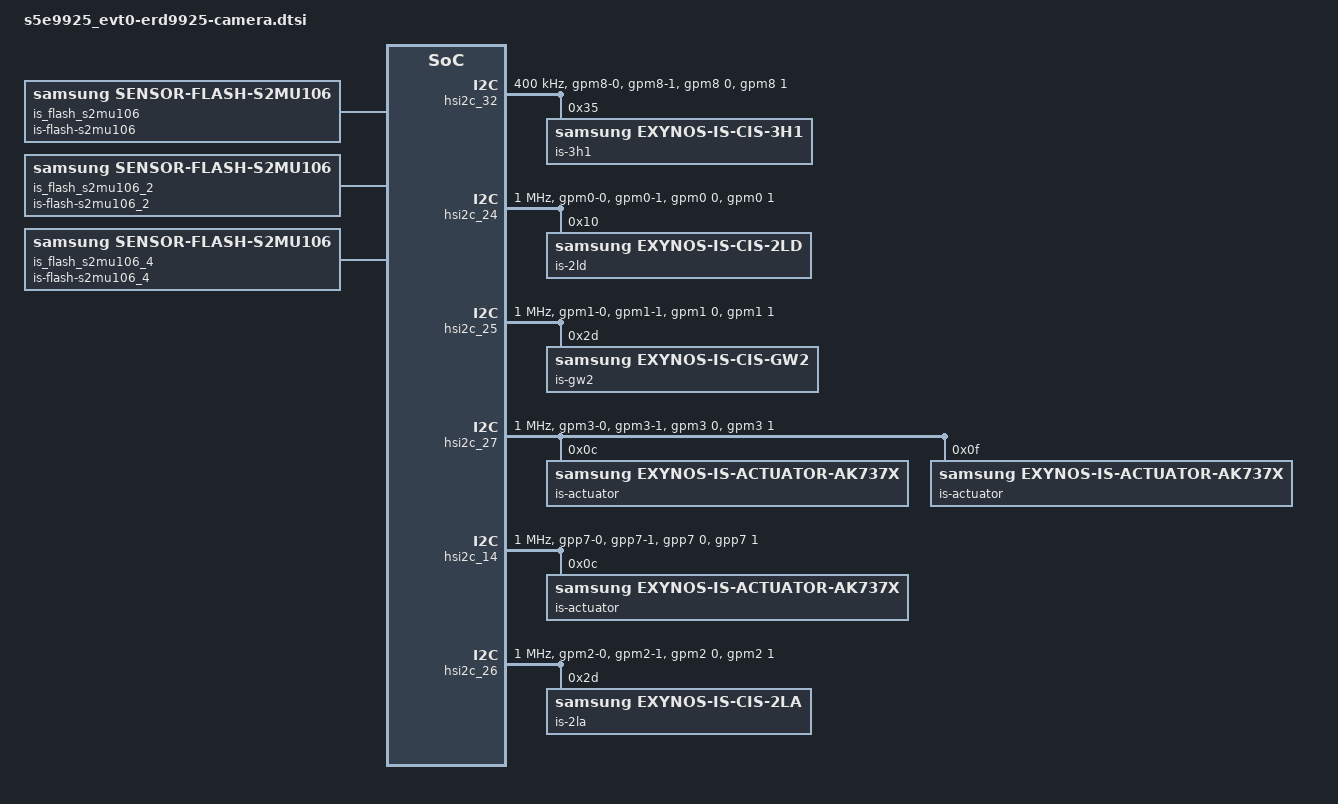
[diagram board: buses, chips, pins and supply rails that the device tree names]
/*
 * Samsung Exynos SoC series Pablo driver
 *
 * Copyright (c) 2020 Samsung Electronics Co., Ltd
 *
 * This program is free software; you can redistribute it and/or modify
 * it under the terms of the GNU General Public License version 2 as
 * published by the Free Software Foundation.
 */

#include <dt-bindings/camera/exynos_is_dt.h>

#include "module_evt0_2ld.dtsi" /* REAR CAMERA */
#include "module_3h1.dtsi" /* FRONT CAMERA */
#include "module_2la.dtsi" /* Ultra Wide CAMERA */
#include "module_evt0_gw2.dtsi" /* Tele CAMERA */

/ {
	fragment@camera {
		target-path = "/";
		__overlay__ {
			#address-cells = <2>;
			#size-cells = <1>;
			interrupt-parent = <&gic>;

			is_flash_s2mu106: is-flash-s2mu106@0 {
				compatible = "samsung,sensor-flash-s2mu106";
				sensor-module = <&is_sensor_2ld>;
				id = <0>;
				led_ch = <1 2>;
				status = "okay";
			};

			is_flash_s2mu106_2: is-flash-s2mu106_2@0 {
				compatible = "samsung,sensor-flash-s2mu106";
				sensor-module = <&is_sensor_gw2>;
				id = <2>;
				led_ch = <1 2>;
				status = "okay";
			};

			is_flash_s2mu106_4: is-flash-s2mu106_4@0 {
				compatible = "samsung,sensor-flash-s2mu106";
				sensor-module = <&is_sensor_2la>;
				id = <4>;
				led_ch = <1 2>;
				status = "okay";
			};

			/* REAR CAMERA */
			is_sensor0: is_sensor0@17030000 {
				#address-cells = <1>;
				#size-cells = <1>;
				reg = <0x0 0x17030000 0x1000>, /* MIPI-CSI0 */
					<0x0 0x173E0000 0x10000>; /* PHY: M0S4S4S4S4S4S2 */
				scenario = <SENSOR_SCENARIO_NORMAL>;	/* Normal, Vision, OIS etc */
				id = <0>;
				csi_ch = <0>;
				status = "okay";
				use_cphy = <1>;

				interrupts = <0 INTREQ__CSIS0 IRQ_TYPE_LEVEL_HIGH>;
				phys = <&mipi_phy_csis0_m0s4s4s4s4s4s4_s22 0>;
			};

			/* FRONT CAMERA */
			is_sensor1: is_sensor1@17040000 {
				#address-cells = <1>;
				#size-cells = <1>;
				reg = <0x0 0x17080000 0x1000>, /* MIPI-CSI5 */
					<0x0 0x173E0000 0x10000>; /* PHY: M0S4S4S4S4S4S2 */
				scenario = <SENSOR_SCENARIO_NORMAL>;    /* Normal, Vision, OIS etc */
				id = <1>;
				csi_ch = <5>;
				status = "okay";

				interrupts = <0 INTREQ__CSIS5 IRQ_TYPE_LEVEL_HIGH>;
				phys = <&mipi_phy_csis5_m0s4s4s4s4s4s4_s22 0>;
			};

			/* Tele CAMERA */
			is_sensor2: is_sensor2@17050000 {
				#address-cells = <1>;
				#size-cells = <1>;
				reg = <0x0 0x17040000 0x1000>, /* MIPI-CSI1 */
					<0x0 0x173E0000 0x10000>; /* PHY: M0S4S4S4S4S4S2 */
				scenario = <SENSOR_SCENARIO_NORMAL>;    /* Normal, Vision, OIS etc */
				id = <2>;
				csi_ch = <1>;
				status = "okay";
				use_cphy = <1>;

				interrupts = <0 INTREQ__CSIS1 IRQ_TYPE_LEVEL_HIGH>;
				phys = <&mipi_phy_csis1_m0s4s4s4s4s4s4_s22 0>;
			};

			is_sensor3: is_sensor3@17060000 {
				#address-cells = <1>;
				#size-cells = <1>;
				scenario = <SENSOR_SCENARIO_NORMAL>;    /* Normal, Vision, OIS etc */
				id = <3>;
				csi_ch = <4>;
				status = "disabled";
			};

			/* ULTRA WIDE CAMERA */
			is_sensor4: is_sensor4@17070000 {
				#address-cells = <1>;
				#size-cells = <1>;
				reg = <0x0 0x17050000 0x1000>, /* MIPI-CSI2 */
					<0x0 0x173E0000 0x10000>; /* PHY: M0S4S4S4S4S4S2 */
				scenario = <SENSOR_SCENARIO_NORMAL>;    /* Normal, Vision, OIS etc */
				id = <4>;
				csi_ch = <2>;
				status = "okay";
				use_cphy = <1>;

				interrupts = <0 INTREQ__CSIS2 IRQ_TYPE_LEVEL_HIGH>;
				phys = <&mipi_phy_csis2_m0s4s4s4s4s4s4_s22 0>;
			};

			is_sensor5: is_sensor5@17080000 {
				#address-cells = <1>;
				#size-cells = <1>;
				scenario = <SENSOR_SCENARIO_NORMAL>;    /* Normal, Vision, OIS etc */
				id = <1>;
				csi_ch = <1>;
				status = "disabled";
			};
		}; /* end of __overlay__ */
	}; /* end of fragment */
}; /* end of root */

/***** reference symbol node *****/
&pinctrl_1 {
	/* REAR TELE */
	hsi2c25_bus_in: hsi2c25-bus-in {
		samsung,pins = "gpm1-0", "gpm1-1";
		samsung,pin-function = <0>;
		samsung,pin-pud = <0>;
		samsung,pin-drv = <0>;
	};

	/* REAR WIDE/TELE AF */
	hsi2c27_bus_in: hsi2c27-bus-in {
		samsung,pins = "gpm3-0", "gpm3-1";
		samsung,pin-function = <0>;
		samsung,pin-pud = <0>;
		samsung,pin-drv = <0>;
	};

	/* REAR WIDE */
	hsi2c24_bus_in: hsi2c24-bus-in {
		samsung,pins = "gpm0-0", "gpm0-1";
		samsung,pin-function = <0>;
		samsung,pin-pud = <0>;
		samsung,pin-drv = <0>;
	};

	/* U WIDE */
	hsi2c26_bus_in: hsi2c26-bus-in {
		samsung,pins = "gpm2-0", "gpm2-1";
		samsung,pin-function = <0>;
		samsung,pin-pud = <0>;
		samsung,pin-drv = <0>;
	};

	/* Front */
	hsi2c32_bus_in: hsi2c32-bus-in {
		samsung,pins = "gpm8-0", "gpm8-1";
		samsung,pin-function = <0>;
		samsung,pin-pud = <0>;
		samsung,pin-drv = <0>;
	};
};

&pinctrl_5 {
	/* FRONT AF*/
	hsi2c14_bus_in: hsi2c14-bus-in {
		samsung,pins = "gpp7-0", "gpp7-1";
		samsung,pin-function = <0>;
		samsung,pin-pud = <0>;
		samsung,pin-drv = <0>;
	};
};

&hsi2c_32 {
	#address-cells = <1>;
	#size-cells = <0>;
	gpios = <&gpm8 0 0 &gpm8 1 0>;
	status = "okay";
	clock-frequency = <400000>;
	samsung,reset-before-trans;

	pinctrl-names = "default","on_i2c","off_i2c";
	pinctrl-0 = <&hsi2c32_bus_in>;
	pinctrl-1 = <&hsi2c32_bus>;
	pinctrl-2 = <&hsi2c32_bus_in>;

	is-3h1@35 {
		compatible = "samsung,exynos-is-cis-3h1";
		sensor-module = <&is_sensor_3h1>;
		reg = <0x35>; /* 1 bit right shift */
		id = <1>; /* matching is_sensor id */
		setfile = "default";
	};
};

&hsi2c_24 {
	#address-cells = <1>;
	#size-cells = <0>;
	gpios = <&gpm0 0 0 &gpm0 1 0>;
	status = "okay";
	clock-frequency = <1000000>;
	samsung,reset-before-trans;
	samsung,fast-plus-mode;

	pinctrl-names = "default","on_i2c","off_i2c";
	pinctrl-0 = <&hsi2c24_bus_in>;
	pinctrl-1 = <&hsi2c24_bus>;
	pinctrl-2 = <&hsi2c24_bus_in>;

	is-2ld@20 {
		compatible = "samsung,exynos-is-cis-2ld";
		sensor-module = <&is_sensor_2ld>;
		reg = <0x10>; /* 1 bit right shift */
		id = <0>; /* matching is_sensor id */
		setfile = "default";
		rev_reg = <0x0002 2 0xA301>;
	};
};

&hsi2c_25 {
	#address-cells = <1>;
	#size-cells = <0>;
	gpios = <&gpm1 0 0 &gpm1 1 0>;
	status = "okay";
	clock-frequency = <1000000>;
	samsung,reset-before-trans;
	samsung,fast-plus-mode;

	pinctrl-names = "default","on_i2c","off_i2c";
	pinctrl-0 = <&hsi2c25_bus_in>;
	pinctrl-1 = <&hsi2c25_bus>;
	pinctrl-2 = <&hsi2c25_bus_in>;

	is-gw2@2D {
		compatible = "samsung,exynos-is-cis-gw2";
		sensor-module = <&is_sensor_gw2>;
		reg = <0x2D>; /* 1 bit right shift */
		id = <2>; /* matching is_sensor id */
		setfile = "setA";
		rev_reg = <0x0002 2 0xA300>;
	};
};

&hsi2c_27 {
	#address-cells = <1>;
	#size-cells = <0>;
	gpios = <&gpm3 0 0 &gpm3 1 0>;
	status = "okay";
	clock-frequency = <1000000>;
	samsung,reset-before-trans;
	samsung,fast-plus-mode;

	pinctrl-names = "default","on_i2c","off_i2c";
	pinctrl-0 = <&hsi2c27_bus_in>;
	pinctrl-1 = <&hsi2c27_bus>;
	pinctrl-2 = <&hsi2c27_bus_in>;

	is-actuator@0C { /* wide AF */
		compatible = "samsung,exynos-is-actuator-ak737x";
		sensor-module = <&is_sensor_2ld>;
		reg = <0x0C>;
		id = <0>; /* matching is_sensor id */
		/* AK737x: addr 0xF3, data 0x0E */
		vendor_product_id = <0xF3 0x0E 0xF3 0x13 0xF3 0x00>;
		vendor_first_pos = <250>;
		vendor_first_delay = <2000>;
		vendor_soft_landing_seqid = <1>;
		vendor_soft_landing_list = <100 30 0 30>; /* 1st_pos delay 2nd_pos delay */
		vendor_use_sleep_mode;
		vendor_use_standby_mode; /* AK7377 with vendor_use_sleep_mode */
	};

	is-actuator@0F { /* tele AF */
		compatible = "samsung,exynos-is-actuator-ak737x";
		sensor-module = <&is_sensor_gw2>;
		reg = <0x0F>;
		id = <2>; /* matching sensor id */
		/* AK7377: addr 0xF3, data 0x0E */
		vendor_product_id = <0xF3 0x0E 0xF3 0x13 0xF3 0x00>;
		vendor_first_pos = <250>;
		vendor_first_delay = <2000>;
		vendor_soft_landing_seqid = <1>;
		vendor_soft_landing_list = <100 30 0 30>; /* 1st_pos delay 2nd_pos delay */
		vendor_use_sleep_mode;
		vendor_use_standby_mode; /* AK7377 with vendor_use_sleep_mode */
	};
};

&hsi2c_14 {
	#address-cells = <1>;
	#size-cells = <0>;
	gpios = <&gpp7 0 0 &gpp7 1 0>;
	status = "okay";
	clock-frequency = <1000000>;
	samsung,reset-before-trans;
	samsung,fast-plus-mode;

	pinctrl-names = "default","on_i2c","off_i2c";
	pinctrl-0 = <&hsi2c14_bus_in>;
	pinctrl-1 = <&hsi2c14_bus>;
	pinctrl-2 = <&hsi2c14_bus_in>;

	is-actuator@0C { /* front AF */
		compatible = "samsung,exynos-is-actuator-ak737x";
		sensor-module = <&is_sensor_3h1>;
		reg = <0x0C>;
		id = <1>; /* matching is_sensor id */
		/* AK737x: addr 0xF3, data 0x0E */
		vendor_product_id = <0xF3 0x0E 0xF3 0x13 0xF3 0x00>;
		vendor_first_pos = <120>;
		vendor_first_delay = <2000>;
		vendor_soft_landing_seqid = <1>;
		vendor_soft_landing_list = <100 30 0 30>; /* 1st_pos delay 2nd_pos delay */
		vendor_use_sleep_mode;
		vendor_use_standby_mode; /* AK7377 with vendor_use_sleep_mode */
	};
};

&hsi2c_26 {
	#address-cells = <1>;
	#size-cells = <0>;
	gpios = <&gpm2 0 0 &gpm2 1 0>;
	status = "okay";
	clock-frequency = <1000000>;
	samsung,reset-before-trans;
	samsung,fast-plus-mode;

	pinctrl-names = "default","on_i2c","off_i2c";
	pinctrl-0 = <&hsi2c26_bus_in>;
	pinctrl-1 = <&hsi2c26_bus>;
	pinctrl-2 = <&hsi2c26_bus_in>;

	is-2la@2D {
		compatible = "samsung,exynos-is-cis-2la";
		sensor-module = <&is_sensor_2la>;
		reg = <0x2D>; /* 1 bit right shift */
		id = <4>; /* matching is_sensor id */
		setfile = "setA";
		status = "okay";
		rev_reg = <0x0002 2 0xA202>;
	};
};

&exynos_is {
	vender {
		use_module_check;
		use_ois;
		check_sensor_vendor;
		ois_sensor_index = <0>;
		aperture_sensor_index = <0>;
		mcu_sensor_index = <0>;

		max_supported_camera = <9>;
		supported_cameraId = <0 1 2 20 21 23 50 52 80>;
		ois_gyro_list = <0x00 0x00 0x01 0x01 0x01>;
		/*
		* Wide(0)
		* Front(1)
		* U Wide(2)
		* Front 80(3) - not available for factory
		* Rear ToF(4) - not available for factory
		* Front Secure(5) - not available for factory
		* Dual Zoom(20)
		* Dual Portrait Tele(21) - Main Tele/Sub Wide
		* Dual Portrait Wide(23) - Main Wide/Sub U Wide
		* Tele 2x2(50)
		* Tele 17.9(52)
		* REAR ToF(80)
		*/

		/* sysfs camera id */
		max_camera_num = <9>;
		sensor_name { /* sensor_dev_id = "name" */
			0 = "2LD";
			1 = "3H1";
			2 = "GW2";
			4 = "2LA";
		};
		camera_info0 {			/* 0 : sysfs rear */
			internal_id = <0>;	/* 0 : wide */
			isp = <0>;		/* 0 : INT, 1 : EXT, 2 : SOC */
			cal_memory = <2>;	/* 0 : N, 1 : FROM, 2 : EEPROM, 3 : OTP */
			read_version = <0>;	/* 0 : SYSFS, 1 : CAMON */
			core_voltage = <0>;	/* 0 : N, 1 : Y */
			upgrade = <0>;		/* 0 : N, 1 : SYSFS , 2 : CAMON */
			fw_write = <0>;		/* 0 : N, 1 : OS, 2 : SD, 3 : ALL */
			fw_dump = <0>;		/* 0 : N, 1 : Y */
			companion = <0>;	/* 0 : N, 1 : Y */
			ois = <1>;		/* 0 : N, 1 : Y */
			valid = <1>;		/* 0 : INVALID, 1 : VALID */
		};
		camera_info1 {			/* 1 : sysfs front */
			internal_id = <1>;	/* 1 : front master */
			isp = <0>;		/* 0 : INT, 1 : EXT, 2 : SOC */
			cal_memory = <2>;	/* 0 : N, 1 : FROM, 2 : EEPROM, 3 : OTP */
			read_version = <0>;	/* 0 : SYSFS, 1 : CAMON */
			core_voltage = <0>;	/* 0 : N, 1 : Y */
			upgrade = <0>;		/* 0 : N, 1 : SYSFS, 2 : CAMON */
			fw_write = <0>;		/* 0 : N, 1 : OS, 2 : SD, 3 : ALL */
			fw_dump = <0>;		/* 0 : N, 1 : Y */
			companion = <0>;	/* 0 : N, 1 : Y */
			ois = <0>;		/* 0 : N, 1 : Y */
			valid = <1>;		/* 0 : INVALID, 1 : VALID */
		};
		camera_info2 {			/* 2 : sysfs rear2 */
			internal_id = <4>;	/* 4 : ultra wide */
			isp = <0>;		/* 0 : INT, 1 : EXT, 2 : SOC */
			cal_memory = <2>;	/* 0 : N, 1 : FROM, 2 : EEPROM, 3 : OTP */
			read_version = <0>;	/* 0 : SYSFS, 1 : CAMON */
			core_voltage = <0>;	/* 0 : N, 1 : Y */
			upgrade = <0>;		/* 0 : N, 1 : SYSFS, 2 : CAMON */
			fw_write = <0>;		/* 0 : N, 1 : OS, 2 : SD, 3 : ALL */
			fw_dump = <0>;		/* 0 : N, 1 : Y */
			companion = <0>;	/* 0 : N, 1 : Y */
			ois = <0>;		/* 0 : N, 1 : Y */
			valid = <1>;		/* 0 : INVALID, 1 : VALID */
		};
		camera_info3 {			/* 3 : sysfs front2 */
			internal_id = <3>;	/* 3 : front sub */
			isp = <0>;		/* 0 : INT, 1 : EXT, 2 : SOC */
			cal_memory = <2>;	/* 0 : N, 1 : FROM, 2 : EEPROM, 3 : OTP */
			read_version = <0>;	/* 0 : SYSFS, 1 : CAMON */
			core_voltage = <0>;	/* 0 : N, 1 : Y */
			upgrade = <0>;		/* 0 : N, 1 : SYSFS, 2 : CAMON */
			fw_write = <0>;		/* 0 : N, 1 : OS, 2 : SD, 3 : ALL */
			fw_dump = <0>;		/* 0 : N, 1 : Y */
			companion = <0>;	/* 0 : N, 1 : Y */
			ois = <0>;		/* 0 : N, 1 : Y */
			valid = <1>;		/* 0 : INVALID, 1 : VALID */
		};
		camera_info4 {			/* 4 : sysfs rear3 */
			internal_id = <2>;	/* 4 : tele */
			isp = <0>;		/* 0 : INT, 1 : EXT, 2 : SOC */
			cal_memory = <2>;	/* 0 : N, 1 : FROM, 2 : EEPROM, 3 : OTP */
			read_version = <0>;	/* 0 : SYSFS, 1 : CAMON */
			core_voltage = <0>;	/* 0 : N, 1 : Y */
			upgrade = <0>;		/* 0 : N, 1 : SYSFS, 2 : CAMON */
			fw_write = <0>;		/* 0 : N, 1 : OS, 2 : SD, 3 : ALL */
			fw_dump = <0>;		/* 0 : N, 1 : Y */
			companion = <0>;	/* 0 : N, 1 : Y */
			ois = <1>;		/* 0 : N, 1 : Y */
			valid = <1>;		/* 0 : INVALID, 1 : VALID   */
		};
		camera_info5 {			/* 5 : sysfs front3 */
			valid = <0>;		/* 0 : INVALID, 1 : VALID */
		};
		camera_info6 {			/* 6 : sysfs rear4 */
			valid = <0>;		/* 0 : INVALID, 1 : VALID */
		};
		camera_info7 {			/* 7 : sysfs front4 */
			valid = <0>;		/* 0 : INVALID, 1 : VALID */
		};
		camera_info8 {			/* 8 : sysfs rear tof */
			internal_id = <8>;	/* 3 : rear tof */
			isp = <0>;		/* 0 : INT, 1 : EXT, 2 : SOC */
			cal_memory = <2>;	/* 0 : N, 1 : FROM, 2 : EEPROM, 3 : OTP  */
			read_version = <0>;	/* 0 : SYSFS, 1 : CAMON */
			core_voltage = <0>;	/* 0 : N, 1 : Y */
			upgrade = <0>;		/* 0 : N, 1 : SYSFS, 2 : CAMON */
			fw_write = <0>;		/* 0 : N, 1 : OS, 2 : SD, 3 : ALL */
			fw_dump = <0>;		/* 0 : N, 1 : Y */
			companion = <0>;	/* 0 : N, 1 : Y */
			ois = <0>;		/* 0 : N, 1 : Y */
			valid = <1>;		/* 0 : INVALID, 1 : VALID */
		};
	};

	lic_offsets {
		/* 3AA = <setA lic offset0, setA lic offset1, set A trigger context */
		/*		setB lic offset0, setB lic offset1, set B trigger context> */
		/* 4672: 4640x4352 */
		/* 5824: 5804x4352 */
		3AA = <5461 10922 16383 0 5461 10922 16383 0>;
	};

	is_dvfs {
		#define CPU_CL0 "0-3"
		#define CPU_CL1 "4-6"
		#define CPU_CL2 "7"

		table0 {
			desc = "dvfs table v0.2";

			default_int_cam = <1>;
			default_cam = <1>;
			default_csis = <1>;
			default_isp = <1>;
			default_mif = <1>;
			default_int = <1>;
			default_cpu = CPU_CL0;

			rear_single_wide_photo_int_cam = <6>;
			rear_single_wide_photo_cam = <6>;
			rear_single_wide_photo_csis = <6>;
			rear_single_wide_photo_isp = <6>;
			rear_single_wide_photo_mif = <6>;
			rear_single_wide_photo_int = <5>;
			rear_single_wide_photo_cpu = CPU_CL0;

			rear_single_wide_photo_full_int_cam = <6>;
			rear_single_wide_photo_full_cam = <6>;
			rear_single_wide_photo_full_csis = <6>;
			rear_single_wide_photo_full_isp = <6>;
			rear_single_wide_photo_full_mif = <3>;
			rear_single_wide_photo_full_int = <5>;
			rear_single_wide_photo_full_cpu = CPU_CL0;

			rear_single_wide_video_fhd30_int_cam = <6>;
			rear_single_wide_video_fhd30_cam = <7>;
			rear_single_wide_video_fhd30_csis = <6>;
			rear_single_wide_video_fhd30_isp = <7>;
			rear_single_wide_video_fhd30_mif = <8>;
			rear_single_wide_video_fhd30_int = <5>;
			rear_single_wide_video_fhd30_cpu = CPU_CL0;

			rear_single_wide_videohdr_int_cam = <6>;
			rear_single_wide_videohdr_cam = <6>;
			rear_single_wide_videohdr_csis = <6>;
			rear_single_wide_videohdr_isp = <7>;
			rear_single_wide_videohdr_mif = <8>;
			rear_single_wide_videohdr_int = <5>;
			rear_single_wide_videohdr_cpu = CPU_CL0;

			rear_single_wide_video_fhd60_int_cam = <6>;
			rear_single_wide_video_fhd60_cam = <6>;
			rear_single_wide_video_fhd60_csis = <6>;
			rear_single_wide_video_fhd60_isp = <7>;
			rear_single_wide_video_fhd60_mif = <7>;
			rear_single_wide_video_fhd60_int = <5>;
			rear_single_wide_video_fhd60_cpu = CPU_CL1;

			rear_single_wide_video_fhd60_hf_int_cam = <6>;
			rear_single_wide_video_fhd60_hf_cam = <6>;
			rear_single_wide_video_fhd60_hf_csis = <6>;
			rear_single_wide_video_fhd60_hf_isp = <7>;
			rear_single_wide_video_fhd60_hf_mif = <7>;
			rear_single_wide_video_fhd60_hf_int = <5>;
			rear_single_wide_video_fhd60_hf_cpu = CPU_CL1;

			rear_single_wide_video_fhd60_supersteady_int_cam = <5>;
			rear_single_wide_video_fhd60_supersteady_cam = <5>;
			rear_single_wide_video_fhd60_supersteady_csis = <5>;
			rear_single_wide_video_fhd60_supersteady_isp = <6>;
			rear_single_wide_video_fhd60_supersteady_mif = <7>;
			rear_single_wide_video_fhd60_supersteady_int = <5>;
			rear_single_wide_video_fhd60_supersteady_cpu = CPU_CL1;

			rear_single_wide_video_fhd60_hf_supersteady_int_cam = <5>;
			rear_single_wide_video_fhd60_hf_supersteady_cam = <5>;
			rear_single_wide_video_fhd60_hf_supersteady_csis = <5>;
			rear_single_wide_video_fhd60_hf_supersteady_isp = <6>;
			rear_single_wide_video_fhd60_hf_supersteady_mif = <7>;
			rear_single_wide_video_fhd60_hf_supersteady_int = <5>;
			rear_single_wide_video_fhd60_hf_supersteady_cpu = CPU_CL1;

			rear_single_wide_video_uhd30_int_cam = <6>;
			rear_single_wide_video_uhd30_cam = <6>;
			rear_single_wide_video_uhd30_csis = <6>;
			rear_single_wide_video_uhd30_isp = <7>;
			rear_single_wide_video_uhd30_mif = <7>;
			rear_single_wide_video_uhd30_int = <4>;
			rear_single_wide_video_uhd30_cpu = CPU_CL0;

			rear_single_wide_video_uhd60_int_cam = <6>;
			rear_single_wide_video_uhd60_cam = <5>;
			rear_single_wide_video_uhd60_csis = <6>;
			rear_single_wide_video_uhd60_isp = <6>;
			rear_single_wide_video_uhd60_mif = <5>;
			rear_single_wide_video_uhd60_int = <3>;
			rear_single_wide_video_uhd60_cpu = CPU_CL1;

			rear_single_wide_video_uhd60_hf_int_cam = <6>;
			rear_single_wide_video_uhd60_hf_cam = <5>;
			rear_single_wide_video_uhd60_hf_csis = <6>;
			rear_single_wide_video_uhd60_hf_isp = <7>;
			rear_single_wide_video_uhd60_hf_mif = <6>;
			rear_single_wide_video_uhd60_hf_int = <3>;
			rear_single_wide_video_uhd60_hf_cpu = CPU_CL1;

			rear_single_wide_video_uhd120_int_cam = <6>;
			rear_single_wide_video_uhd120_cam = <4>;
			rear_single_wide_video_uhd120_csis = <6>;
			rear_single_wide_video_uhd120_isp = <4>;
			rear_single_wide_video_uhd120_mif = <3>;
			rear_single_wide_video_uhd120_int = <2>;
			rear_single_wide_video_uhd120_cpu = CPU_CL0;

			rear_single_wide_capture_int_cam = <3>;
			rear_single_wide_capture_cam = <3>;
			rear_single_wide_capture_csis = <6>;
			rear_single_wide_capture_isp = <3>;
			rear_single_wide_capture_mif = <1>;
			rear_single_wide_capture_int = <5>;
			rear_single_wide_capture_cpu = CPU_CL0;

			rear_single_wide_remosaic_photo_int_cam = <1>;
			rear_single_wide_remosaic_photo_cam = <1>;
			rear_single_wide_remosaic_photo_csis = <1>;
			rear_single_wide_remosaic_photo_isp = <1>;
			rear_single_wide_remosaic_photo_mif = <1>;
			rear_single_wide_remosaic_photo_int = <1>;
			rear_single_wide_remosaic_photo_cpu = CPU_CL0;

			rear_single_wide_remosaic_capture_int_cam = <1>;
			rear_single_wide_remosaic_capture_cam = <1>;
			rear_single_wide_remosaic_capture_csis = <1>;
			rear_single_wide_remosaic_capture_isp = <1>;
			rear_single_wide_remosaic_capture_mif = <1>;
			rear_single_wide_remosaic_capture_int = <1>;
			rear_single_wide_remosaic_capture_cpu = CPU_CL0;

			rear_single_wide_video_fhd120_int_cam = <8>;
			rear_single_wide_video_fhd120_cam = <5>;
			rear_single_wide_video_fhd120_csis = <6>;
			rear_single_wide_video_fhd120_isp = <7>;
			rear_single_wide_video_fhd120_mif = <5>;
			rear_single_wide_video_fhd120_int = <4>;
			rear_single_wide_video_fhd120_cpu = CPU_CL0;

			rear_single_wide_video_fhd240_int_cam = <8>;
			rear_single_wide_video_fhd240_cam = <5>;
			rear_single_wide_video_fhd240_csis = <6>;
			rear_single_wide_video_fhd240_isp = <5>;
			rear_single_wide_video_fhd240_mif = <4>;
			rear_single_wide_video_fhd240_int = <3>;
			rear_single_wide_video_fhd240_cpu = CPU_CL1;

			rear_single_wide_video_fhd480_int_cam = <8>;
			rear_single_wide_video_fhd480_cam = <5>;
			rear_single_wide_video_fhd480_csis = <6>;
			rear_single_wide_video_fhd480_isp = <5>;
			rear_single_wide_video_fhd480_mif = <3>;
			rear_single_wide_video_fhd480_int = <2>;
			rear_single_wide_video_fhd480_cpu = CPU_CL0;

			rear_single_wide_ssm_int_cam = <8>;
			rear_single_wide_ssm_cam = <5>;
			rear_single_wide_ssm_csis = <6>;
			rear_single_wide_ssm_isp = <5>;
			rear_single_wide_ssm_mif = <3>;
			rear_single_wide_ssm_int = <2>;
			rear_single_wide_ssm_hpg = <6>;
			rear_single_wide_ssm_cpu = CPU_CL0;

			rear_single_wide_video_8k24_int_cam = <6>;
			rear_single_wide_video_8k24_cam = <5>;
			rear_single_wide_video_8k24_csis = <6>;
			rear_single_wide_video_8k24_isp = <4>;
			rear_single_wide_video_8k24_mif = <6>;
			rear_single_wide_video_8k24_int = <3>;
			rear_single_wide_video_8k24_cpu = CPU_CL0;

			rear_single_wide_video_8k24_hf_int_cam = <6>;
			rear_single_wide_video_8k24_hf_cam = <5>;
			rear_single_wide_video_8k24_hf_csis = <6>;
			rear_single_wide_video_8k24_hf_isp = <5>;
			rear_single_wide_video_8k24_hf_mif = <7>;
			rear_single_wide_video_8k24_hf_int = <3>;
			rear_single_wide_video_8k24_hf_cpu = CPU_CL0;

			rear_single_wide_video_8k30_int_cam = <6>;
			rear_single_wide_video_8k30_cam = <5>;
			rear_single_wide_video_8k30_csis = <6>;
			rear_single_wide_video_8k30_isp = <2>;
			rear_single_wide_video_8k30_mif = <4>;
			rear_single_wide_video_8k30_int = <2>;
			rear_single_wide_video_8k30_cpu = CPU_CL0;

			rear_single_wide_video_8k30_hf_int_cam = <6>;
			rear_single_wide_video_8k30_hf_cam = <5>;
			rear_single_wide_video_8k30_hf_csis = <6>;
			rear_single_wide_video_8k30_hf_isp = <5>;
			rear_single_wide_video_8k30_hf_mif = <5>;
			rear_single_wide_video_8k30_hf_int = <2>;
			rear_single_wide_video_8k30_hf_cpu = CPU_CL0;

			rear_single_wide_vt_int_cam = <6>;
			rear_single_wide_vt_cam = <7>;
			rear_single_wide_vt_csis = <6>;
			rear_single_wide_vt_isp = <7>;
			rear_single_wide_vt_mif = <8>;
			rear_single_wide_vt_int = <5>;
			rear_single_wide_vt_cpu = CPU_CL0;

			rear_single_ultrawide_photo_int_cam = <6>;
			rear_single_ultrawide_photo_cam = <6>;
			rear_single_ultrawide_photo_csis = <6>;
			rear_single_ultrawide_photo_isp = <6>;
			rear_single_ultrawide_photo_mif = <6>;
			rear_single_ultrawide_photo_int = <5>;
			rear_single_ultrawide_photo_cpu = CPU_CL0;

			rear_single_ultrawide_photo_full_int_cam = <6>;
			rear_single_ultrawide_photo_full_cam = <6>;
			rear_single_ultrawide_photo_full_csis = <6>;
			rear_single_ultrawide_photo_full_isp = <6>;
			rear_single_ultrawide_photo_full_mif = <3>;
			rear_single_ultrawide_photo_full_int = <5>;
			rear_single_ultrawide_photo_full_cpu = CPU_CL0;

			rear_single_ultrawide_video_fhd30_int_cam = <6>;
			rear_single_ultrawide_video_fhd30_cam = <7>;
			rear_single_ultrawide_video_fhd30_csis = <6>;
			rear_single_ultrawide_video_fhd30_isp = <7>;
			rear_single_ultrawide_video_fhd30_mif = <8>;
			rear_single_ultrawide_video_fhd30_int = <5>;
			rear_single_ultrawide_video_fhd30_cpu = CPU_CL0;

			rear_single_ultrawide_video_fhd30_supersteady_int_cam = <6>;
			rear_single_ultrawide_video_fhd30_supersteady_cam = <7>;
			rear_single_ultrawide_video_fhd30_supersteady_csis = <6>;
			rear_single_ultrawide_video_fhd30_supersteady_isp = <7>;
			rear_single_ultrawide_video_fhd30_supersteady_mif = <8>;
			rear_single_ultrawide_video_fhd30_supersteady_int = <5>;
			rear_single_ultrawide_video_fhd30_supersteady_cpu = CPU_CL0;

			rear_single_ultrawide_video_fhd30_hf_supersteady_int_cam = <6>;
			rear_single_ultrawide_video_fhd30_hf_supersteady_cam = <7>;
			rear_single_ultrawide_video_fhd30_hf_supersteady_csis = <6>;
			rear_single_ultrawide_video_fhd30_hf_supersteady_isp = <7>;
			rear_single_ultrawide_video_fhd30_hf_supersteady_mif = <8>;
			rear_single_ultrawide_video_fhd30_hf_supersteady_int = <5>;
			rear_single_ultrawide_video_fhd30_hf_supersteady_cpu = CPU_CL0;

			rear_single_ultrawide_video_fhd60_int_cam = <6>;
			rear_single_ultrawide_video_fhd60_cam = <6>;
			rear_single_ultrawide_video_fhd60_csis = <6>;
			rear_single_ultrawide_video_fhd60_isp = <7>;
			rear_single_ultrawide_video_fhd60_mif = <7>;
			rear_single_ultrawide_video_fhd60_int = <5>;
			rear_single_ultrawide_video_fhd60_cpu = CPU_CL1;

			rear_single_ultrawide_video_fhd60_supersteady_int_cam = <5>;
			rear_single_ultrawide_video_fhd60_supersteady_cam = <5>;
			rear_single_ultrawide_video_fhd60_supersteady_csis = <5>;
			rear_single_ultrawide_video_fhd60_supersteady_isp = <6>;
			rear_single_ultrawide_video_fhd60_supersteady_mif = <7>;
			rear_single_ultrawide_video_fhd60_supersteady_int = <5>;
			rear_single_ultrawide_video_fhd60_supersteady_cpu = CPU_CL1;

			rear_single_ultrawide_video_fhd60_hf_supersteady_int_cam = <5>;
			rear_single_ultrawide_video_fhd60_hf_supersteady_cam = <5>;
			rear_single_ultrawide_video_fhd60_hf_supersteady_csis = <5>;
			rear_single_ultrawide_video_fhd60_hf_supersteady_isp = <6>;
			rear_single_ultrawide_video_fhd60_hf_supersteady_mif = <7>;
			rear_single_ultrawide_video_fhd60_hf_supersteady_int = <5>;
			rear_single_ultrawide_video_fhd60_hf_supersteady_cpu = CPU_CL1;

			rear_single_ultrawide_video_uhd30_int_cam = <6>;
			rear_single_ultrawide_video_uhd30_cam = <6>;
			rear_single_ultrawide_video_uhd30_csis = <6>;
			rear_single_ultrawide_video_uhd30_isp = <7>;
			rear_single_ultrawide_video_uhd30_mif = <7>;
			rear_single_ultrawide_video_uhd30_int = <4>;
			rear_single_ultrawide_video_uhd30_cpu = CPU_CL0;

			rear_single_ultrawide_video_uhd60_int_cam = <6>;
			rear_single_ultrawide_video_uhd60_cam = <5>;
			rear_single_ultrawide_video_uhd60_csis = <6>;
			rear_single_ultrawide_video_uhd60_isp = <6>;
			rear_single_ultrawide_video_uhd60_mif = <5>;
			rear_single_ultrawide_video_uhd60_int = <3>;
			rear_single_ultrawide_video_uhd60_cpu = CPU_CL1;

			rear_single_ultrawide_ssm_int_cam = <1>;
			rear_single_ultrawide_ssm_cam = <1>;
			rear_single_ultrawide_ssm_csis = <1>;
			rear_single_ultrawide_ssm_isp = <1>;
			rear_single_ultrawide_ssm_mif = <1>;
			rear_single_ultrawide_ssm_int = <1>;
			rear_single_ultrawide_ssm_hpg = <6>;
			rear_single_ultrawide_ssm_cpu = CPU_CL0;

			rear_single_ultrawide_capture_int_cam = <3>;
			rear_single_ultrawide_capture_cam = <3>;
			rear_single_ultrawide_capture_csis = <6>;
			rear_single_ultrawide_capture_isp = <3>;
			rear_single_ultrawide_capture_mif = <1>;
			rear_single_ultrawide_capture_int = <5>;
			rear_single_ultrawide_capture_cpu = CPU_CL0;

			rear_single_ultrawide_video_fhd120_int_cam = <8>;
			rear_single_ultrawide_video_fhd120_cam = <5>;
			rear_single_ultrawide_video_fhd120_csis = <5>;
			rear_single_ultrawide_video_fhd120_isp = <7>;
			rear_single_ultrawide_video_fhd120_mif = <5>;
			rear_single_ultrawide_video_fhd120_int = <4>;
			rear_single_ultrawide_video_fhd120_cpu = CPU_CL0;

			rear_single_tele_photo_int_cam = <6>;
			rear_single_tele_photo_cam = <6>;
			rear_single_tele_photo_csis = <6>;
			rear_single_tele_photo_isp = <6>;
			rear_single_tele_photo_mif = <6>;
			rear_single_tele_photo_int = <5>;
			rear_single_tele_photo_cpu = CPU_CL0;

			rear_single_tele_photo_full_int_cam = <6>;
			rear_single_tele_photo_full_cam = <6>;
			rear_single_tele_photo_full_csis = <6>;
			rear_single_tele_photo_full_isp = <6>;
			rear_single_tele_photo_full_mif = <3>;
			rear_single_tele_photo_full_int = <5>;
			rear_single_tele_photo_full_cpu = CPU_CL0;

			rear_single_tele_video_fhd30_int_cam = <6>;
			rear_single_tele_video_fhd30_cam = <7>;
			rear_single_tele_video_fhd30_csis = <6>;
			rear_single_tele_video_fhd30_isp = <7>;
			rear_single_tele_video_fhd30_mif = <8>;
			rear_single_tele_video_fhd30_int = <5>;
			rear_single_tele_video_fhd30_cpu = CPU_CL0;

			rear_single_tele_video_uhd30_int_cam = <6>;
			rear_single_tele_video_uhd30_cam = <6>;
			rear_single_tele_video_uhd30_csis = <6>;
			rear_single_tele_video_uhd30_isp = <7>;
			rear_single_tele_video_uhd30_mif = <7>;
			rear_single_tele_video_uhd30_int = <4>;
			rear_single_tele_video_uhd30_cpu = CPU_CL0;

			rear_single_tele_video_fhd60_int_cam = <6>;
			rear_single_tele_video_fhd60_cam = <6>;
			rear_single_tele_video_fhd60_csis = <6>;
			rear_single_tele_video_fhd60_isp = <7>;
			rear_single_tele_video_fhd60_mif = <7>;
			rear_single_tele_video_fhd60_int = <5>;
			rear_single_tele_video_fhd60_cpu = CPU_CL1;

			rear_single_tele_video_uhd60_int_cam = <6>;
			rear_single_tele_video_uhd60_cam = <5>;
			rear_single_tele_video_uhd60_csis = <6>;
			rear_single_tele_video_uhd60_isp = <6>;
			rear_single_tele_video_uhd60_mif = <5>;
			rear_single_tele_video_uhd60_int = <3>;
			rear_single_tele_video_uhd60_cpu = CPU_CL1;

			rear_single_tele_video_8k24_int_cam = <6>;
			rear_single_tele_video_8k24_cam = <5>;
			rear_single_tele_video_8k24_csis = <6>;
			rear_single_tele_video_8k24_isp = <4>;
			rear_single_tele_video_8k24_mif = <6>;
			rear_single_tele_video_8k24_int = <3>;
			rear_single_tele_video_8k24_cpu = CPU_CL0;

			rear_single_tele_video_8k24_hf_int_cam = <6>;
			rear_single_tele_video_8k24_hf_cam = <5>;
			rear_single_tele_video_8k24_hf_csis = <6>;
			rear_single_tele_video_8k24_hf_isp = <5>;
			rear_single_tele_video_8k24_hf_mif = <7>;
			rear_single_tele_video_8k24_hf_int = <3>;
			rear_single_tele_video_8k24_hf_cpu = CPU_CL0;

			rear_single_tele_video_8k30_int_cam = <6>;
			rear_single_tele_video_8k30_cam = <5>;
			rear_single_tele_video_8k30_csis = <6>;
			rear_single_tele_video_8k30_isp = <2>;
			rear_single_tele_video_8k30_mif = <4>;
			rear_single_tele_video_8k30_int = <2>;
			rear_single_tele_video_8k30_cpu = CPU_CL0;

			rear_single_tele_video_8k30_hf_int_cam = <6>;
			rear_single_tele_video_8k30_hf_cam = <5>;
			rear_single_tele_video_8k30_hf_csis = <6>;
			rear_single_tele_video_8k30_hf_isp = <5>;
			rear_single_tele_video_8k30_hf_mif = <5>;
			rear_single_tele_video_8k30_hf_int = <2>;
			rear_single_tele_video_8k30_hf_cpu = CPU_CL0;

			rear_single_tele_capture_int_cam = <3>;
			rear_single_tele_capture_cam = <3>;
			rear_single_tele_capture_csis = <6>;
			rear_single_tele_capture_isp = <3>;
			rear_single_tele_capture_mif = <1>;
			rear_single_tele_capture_int = <5>;
			rear_single_tele_capture_cpu = CPU_CL0;

			rear_single_tele_remosaic_photo_int_cam = <6>;
			rear_single_tele_remosaic_photo_cam = <6>;
			rear_single_tele_remosaic_photo_csis = <6>;
			rear_single_tele_remosaic_photo_isp = <6>;
			rear_single_tele_remosaic_photo_mif = <6>;
			rear_single_tele_remosaic_photo_int = <5>;
			rear_single_tele_remosaic_photo_cpu = CPU_CL0;

			rear_single_tele_remosaic_capture_int_cam = <3>;
			rear_single_tele_remosaic_capture_cam = <3>;
			rear_single_tele_remosaic_capture_csis = <6>;
			rear_single_tele_remosaic_capture_isp = <3>;
			rear_single_tele_remosaic_capture_mif = <1>;
			rear_single_tele_remosaic_capture_int = <5>;
			rear_single_tele_remosaic_capture_cpu = CPU_CL0;

			rear_dual_wide_tele_photo_int_cam = <6>;
			rear_dual_wide_tele_photo_cam = <1>;
			rear_dual_wide_tele_photo_csis = <5>;
			rear_dual_wide_tele_photo_isp = <1>;
			rear_dual_wide_tele_photo_mif = <6>;
			rear_dual_wide_tele_photo_int = <5>;
			rear_dual_wide_tele_photo_cpu = CPU_CL0;

			rear_dual_wide_tele_video_fhd30_int_cam = <6>;
			rear_dual_wide_tele_video_fhd30_cam = <1>;
			rear_dual_wide_tele_video_fhd30_csis = <5>;
			rear_dual_wide_tele_video_fhd30_isp = <1>;
			rear_dual_wide_tele_video_fhd30_mif = <6>;
			rear_dual_wide_tele_video_fhd30_int = <5>;
			rear_dual_wide_tele_video_fhd30_cpu = CPU_CL0;

			rear_dual_wide_tele_video_uhd30_int_cam = <6>;
			rear_dual_wide_tele_video_uhd30_cam = <1>;
			rear_dual_wide_tele_video_uhd30_csis = <5>;
			rear_dual_wide_tele_video_uhd30_isp = <1>;
			rear_dual_wide_tele_video_uhd30_mif = <5>;
			rear_dual_wide_tele_video_uhd30_int = <4>;
			rear_dual_wide_tele_video_uhd30_cpu = CPU_CL0;

			rear_dual_wide_tele_video_fhd60_int_cam = <6>;
			rear_dual_wide_tele_video_fhd60_cam = <1>;
			rear_dual_wide_tele_video_fhd60_csis = <5>;
			rear_dual_wide_tele_video_fhd60_isp = <1>;
			rear_dual_wide_tele_video_fhd60_mif = <5>;
			rear_dual_wide_tele_video_fhd60_int = <5>;
			rear_dual_wide_tele_video_fhd60_cpu = CPU_CL1;

			rear_dual_wide_tele_video_uhd60_int_cam = <1>;
			rear_dual_wide_tele_video_uhd60_cam = <1>;
			rear_dual_wide_tele_video_uhd60_csis = <1>;
			rear_dual_wide_tele_video_uhd60_isp = <1>;
			rear_dual_wide_tele_video_uhd60_mif = <1>;
			rear_dual_wide_tele_video_uhd60_int = <1>;
			rear_dual_wide_tele_video_uhd60_cpu = CPU_CL1;

			rear_dual_wide_tele_capture_int_cam = <3>;
			rear_dual_wide_tele_capture_cam = <1>;
			rear_dual_wide_tele_capture_csis = <5>;
			rear_dual_wide_tele_capture_isp = <1>;
			rear_dual_wide_tele_capture_mif = <1>;
			rear_dual_wide_tele_capture_int = <5>;
			rear_dual_wide_tele_capture_cpu = CPU_CL0;

			rear_dual_wide_ultrawide_photo_int_cam = <6>;
			rear_dual_wide_ultrawide_photo_cam = <1>;
			rear_dual_wide_ultrawide_photo_csis = <5>;
			rear_dual_wide_ultrawide_photo_isp = <1>;
			rear_dual_wide_ultrawide_photo_mif = <6>;
			rear_dual_wide_ultrawide_photo_int = <5>;
			rear_dual_wide_ultrawide_photo_cpu = CPU_CL0;

			rear_dual_wide_ultrawide_video_fhd30_int_cam = <6>;
			rear_dual_wide_ultrawide_video_fhd30_cam = <1>;
			rear_dual_wide_ultrawide_video_fhd30_csis = <5>;
			rear_dual_wide_ultrawide_video_fhd30_isp = <1>;
			rear_dual_wide_ultrawide_video_fhd30_mif = <6>;
			rear_dual_wide_ultrawide_video_fhd30_int = <5>;
			rear_dual_wide_ultrawide_video_fhd30_cpu = CPU_CL0;

			rear_dual_wide_ultrawide_video_uhd30_int_cam = <6>;
			rear_dual_wide_ultrawide_video_uhd30_cam = <1>;
			rear_dual_wide_ultrawide_video_uhd30_csis = <5>;
			rear_dual_wide_ultrawide_video_uhd30_isp = <1>;
			rear_dual_wide_ultrawide_video_uhd30_mif = <5>;
			rear_dual_wide_ultrawide_video_uhd30_int = <5>;
			rear_dual_wide_ultrawide_video_uhd30_cpu = CPU_CL0;

			rear_dual_wide_ultrawide_video_fhd60_int_cam = <6>;
			rear_dual_wide_ultrawide_video_fhd60_cam = <1>;
			rear_dual_wide_ultrawide_video_fhd60_csis = <5>;
			rear_dual_wide_ultrawide_video_fhd60_isp = <1>;
			rear_dual_wide_ultrawide_video_fhd60_mif = <5>;
			rear_dual_wide_ultrawide_video_fhd60_int = <5>;
			rear_dual_wide_ultrawide_video_fhd60_cpu = CPU_CL1;

			rear_dual_wide_ultrawide_video_uhd60_int_cam = <1>;
			rear_dual_wide_ultrawide_video_uhd60_cam = <1>;
			rear_dual_wide_ultrawide_video_uhd60_csis = <1>;
			rear_dual_wide_ultrawide_video_uhd60_isp = <1>;
			rear_dual_wide_ultrawide_video_uhd60_mif = <1>;
			rear_dual_wide_ultrawide_video_uhd60_int = <1>;
			rear_dual_wide_ultrawide_video_uhd60_cpu = CPU_CL1;

			rear_dual_wide_ultrawide_capture_int_cam = <3>;
			rear_dual_wide_ultrawide_capture_cam = <1>;
			rear_dual_wide_ultrawide_capture_csis = <5>;
			rear_dual_wide_ultrawide_capture_isp = <1>;
			rear_dual_wide_ultrawide_capture_mif = <1>;
			rear_dual_wide_ultrawide_capture_int = <5>;
			rear_dual_wide_ultrawide_capture_cpu = CPU_CL0;

			triple_photo_int_cam = <6>;
			triple_photo_cam = <1>;
			triple_photo_csis = <4>;
			triple_photo_isp = <1>;
			triple_photo_mif = <6>;
			triple_photo_int = <5>;
			triple_photo_cpu = CPU_CL0;

			triple_video_fhd30_int_cam = <6>;
			triple_video_fhd30_cam = <1>;
			triple_video_fhd30_csis = <4>;
			triple_video_fhd30_isp = <1>;
			triple_video_fhd30_mif = <6>;
			triple_video_fhd30_int = <5>;
			triple_video_fhd30_cpu = CPU_CL0;

			triple_video_uhd30_int_cam = <1>;
			triple_video_uhd30_cam = <1>;
			triple_video_uhd30_csis = <1>;
			triple_video_uhd30_isp = <1>;
			triple_video_uhd30_mif = <1>;
			triple_video_uhd30_int = <1>;
			triple_video_uhd30_cpu = CPU_CL0;

			triple_video_fhd60_int_cam = <6>;
			triple_video_fhd60_cam = <1>;
			triple_video_fhd60_csis = <4>;
			triple_video_fhd60_isp = <1>;
			triple_video_fhd60_mif = <5>;
			triple_video_fhd60_int = <5>;
			triple_video_fhd60_cpu = CPU_CL1;

			triple_video_uhd60_int_cam = <1>;
			triple_video_uhd60_cam = <1>;
			triple_video_uhd60_csis = <1>;
			triple_video_uhd60_isp = <1>;
			triple_video_uhd60_mif = <1>;
			triple_video_uhd60_int = <1>;
			triple_video_uhd60_cpu = CPU_CL1;

			triple_capture_int_cam = <3>;
			triple_capture_cam = <1>;
			triple_capture_csis = <4>;
			triple_capture_isp = <1>;
			triple_capture_mif = <1>;
			triple_capture_int = <5>;
			triple_capture_cpu = CPU_CL0;

			front_single_photo_int_cam = <6>;
			front_single_photo_cam = <6>;
			front_single_photo_csis = <6>;
			front_single_photo_isp = <6>;
			front_single_photo_mif = <6>;
			front_single_photo_int = <5>;
			front_single_photo_cpu = CPU_CL0;

			front_single_photo_full_int_cam = <6>;
			front_single_photo_full_cam = <6>;
			front_single_photo_full_csis = <6>;
			front_single_photo_full_isp = <6>;
			front_single_photo_full_mif = <3>;
			front_single_photo_full_int = <5>;
			front_single_photo_full_cpu = CPU_CL0;

			front_single_video_fhd30_int_cam = <6>;
			front_single_video_fhd30_cam = <7>;
			front_single_video_fhd30_csis = <6>;
			front_single_video_fhd30_isp = <7>;
			front_single_video_fhd30_mif = <8>;
			front_single_video_fhd30_int = <5>;
			front_single_video_fhd30_cpu = CPU_CL0;

			front_single_video_uhd30_int_cam = <6>;
			front_single_video_uhd30_cam = <6>;
			front_single_video_uhd30_csis = <6>;
			front_single_video_uhd30_isp = <7>;
			front_single_video_uhd30_mif = <7>;
			front_single_video_uhd30_int = <4>;
			front_single_video_uhd30_cpu = CPU_CL0;

			front_single_video_fhd60_int_cam = <6>;
			front_single_video_fhd60_cam = <6>;
			front_single_video_fhd60_csis = <6>;
			front_single_video_fhd60_isp = <7>;
			front_single_video_fhd60_mif = <7>;
			front_single_video_fhd60_int = <5>;
			front_single_video_fhd60_cpu = CPU_CL1;

			front_single_video_uhd60_int_cam = <6>;
			front_single_video_uhd60_cam = <5>;
			front_single_video_uhd60_csis = <6>;
			front_single_video_uhd60_isp = <6>;
			front_single_video_uhd60_mif = <5>;
			front_single_video_uhd60_int = <3>;
			front_single_video_uhd60_cpu = CPU_CL1;

			front_single_video_uhd120_int_cam = <6>;
			front_single_video_uhd120_cam = <4>;
			front_single_video_uhd120_csis = <6>;
			front_single_video_uhd120_isp = <4>;
			front_single_video_uhd120_mif = <3>;
			front_single_video_uhd120_int = <2>;
			front_single_video_uhd120_cpu = CPU_CL0;

			front_single_capture_int_cam = <3>;
			front_single_capture_cam = <3>;
			front_single_capture_csis = <6>;
			front_single_capture_isp = <3>;
			front_single_capture_mif = <1>;
			front_single_capture_int = <5>;
			front_single_capture_cpu = CPU_CL0;

			front_single_vt_int_cam = <6>;
			front_single_vt_cam = <7>;
			front_single_vt_csis = <6>;
			front_single_vt_isp = <7>;
			front_single_vt_mif = <8>;
			front_single_vt_int = <5>;
			front_single_vt_cpu = CPU_CL0;

			front_single_video_fhd120_int_cam = <6>;
			front_single_video_fhd120_cam = <5>;
			front_single_video_fhd120_csis = <6>;
			front_single_video_fhd120_isp = <7>;
			front_single_video_fhd120_mif = <5>;
			front_single_video_fhd120_int = <4>;
			front_single_video_fhd120_hpg = <8>;
			front_single_video_fhd120_cpu = CPU_CL0;

			rear_single_wide_fastae_int_cam = <1>;
			rear_single_wide_fastae_cam = <1>;            /* VOTF */
			rear_single_wide_fastae_csis = <1>;  /* VOTF */
			rear_single_wide_fastae_isp = <1>;
			rear_single_wide_fastae_mif = <1>;
			rear_single_wide_fastae_int = <1>;
			rear_single_wide_fastae_cpu = CPU_CL0;

			pip_dual_photo_int_cam = <6>;
			pip_dual_photo_cam = <5>;
			pip_dual_photo_csis = <5>;
			pip_dual_photo_isp = <7>;
			pip_dual_photo_mif = <6>;
			pip_dual_photo_int = <6>;
			pip_dual_photo_cpu = CPU_CL0;

			pip_dual_capture_int_cam = <3>;
			pip_dual_capture_cam = <1>;
			pip_dual_capture_csis = <5>;
			pip_dual_capture_isp = <1>;
			pip_dual_capture_mif = <1>;
			pip_dual_capture_int = <1>;
			pip_dual_capture_cpu = CPU_CL0;

			pip_dual_video_fhd30_int_cam = <6>;
			pip_dual_video_fhd30_cam = <5>;
			pip_dual_video_fhd30_csis = <5>;
			pip_dual_video_fhd30_isp = <7>;
			pip_dual_video_fhd30_mif = <6>;
			pip_dual_video_fhd30_int = <6>;
			pip_dual_video_fhd30_cpu = CPU_CL0;

			ext_rear_single_int_cam = <1>;
			ext_rear_single_cam = <1>;
			ext_rear_single_csis = <1>;
			ext_rear_single_isp = <1>;
			ext_rear_single_mif = <1>;
			ext_rear_single_int = <1>;
			ext_rear_single_cpu = CPU_CL0;

			ext_front_secure_int_cam = <1>;
			ext_front_secure_cam = <1>;
			ext_front_secure_csis = <1>;
			ext_front_secure_isp = <1>;
			ext_front_secure_mif = <1>;
			ext_front_secure_int = <1>;
			ext_front_secure_cpu = CPU_CL0;

			ext_throttling_int_cam = <6>;
			ext_throttling_cam = <0>;
			ext_throttling_csis = <0>;
			ext_throttling_isp = <0>;
			ext_throttling_mif = <6>;
			ext_throttling_int = <0>;
			ext_throttling_hpg = <0>;
			ext_throttling_cpu = CPU_CL0;

			max_int_cam = <1>;
			max_cam = <1>;
			max_csis = <1>;
			max_isp = <1>;
			max_mif = <1>;
			max_int = <1>;
			max_cpu = CPU_CL0;
		};
	};
};
